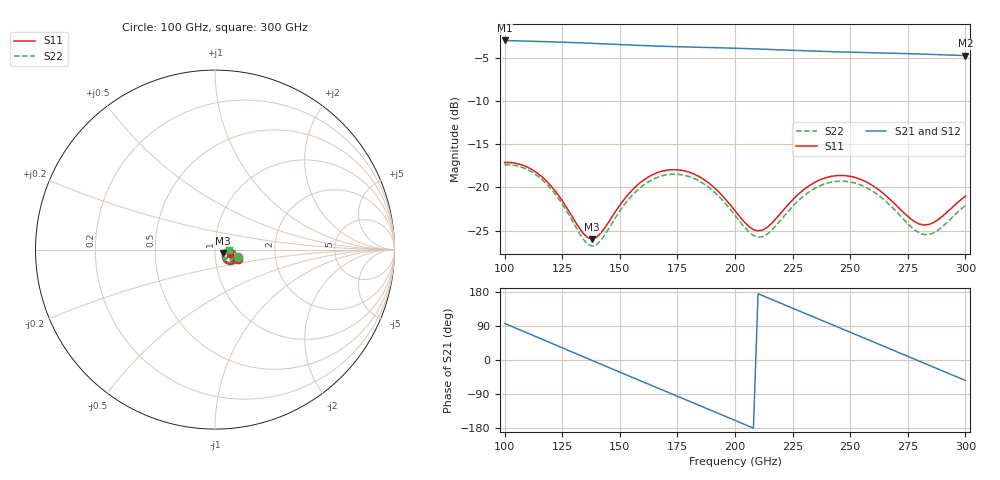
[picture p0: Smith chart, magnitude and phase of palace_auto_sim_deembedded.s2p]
! Created with skrf 1.11.0 (http://scikit-rf.org).
# GHz S DB R 50.0
!freq dBS11 angS11 dBS21 angS21 dBS12 angS12 dBS22 angS22
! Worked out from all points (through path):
!   101 points, 100 GHz to 300 GHz, reference 50 ohm
!   highest |S21| = -2.99 dB at 100 GHz (marker M1); lowest = -4.7 dB at 300 GHz (marker M2)
!   group delay of S21, straight-line fit = 7.08 ps
!   lowest |S11| = -26.0 dB at 138 GHz (marker M3), VSWR 1.11, Z = 54.8 - j2.27 ohm
!   |S11| at or under -10 dB: start of sweep to end of sweep
!   |S22| runs from -26.8 to -17.4 dB; largest |S21 - S12| = 7.7e-14
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100  -17.13 -20.9  -2.99 96.4  -2.99 96.4  -17.38 -18.0
108  -17.44 -33.7  -3.06 76.0  -3.06 76.0  -17.72 -30.6
116  -18.73 -45.0  -3.12 55.4  -3.12 55.4  -19.04 -41.8
126  -21.94 -51.8  -3.20 29.7  -3.20 29.7  -22.33 -48.8
134  -25.29 -39.5  -3.28 9.0  -3.28 9.0  -25.94 -36.6
138  -25.97 -24.3  -3.32 -1.3  -3.32 -1.3  -26.80 -20.4
152  -21.34 0.9  -3.49 -37.1  -3.49 -37.1  -22.00 8.1
160  -19.21 -5.6  -3.58 -57.5  -3.58 -57.5  -19.79 1.9
168  -18.14 -16.2  -3.66 -77.8  -3.66 -77.8  -18.68 -8.5
182  -18.43 -36.4  -3.76 -113.4  -3.76 -113.4  -18.94 -28.3
192  -20.27 -47.1  -3.83 -139.0  -3.83 -139.0  -20.78 -38.9
200  -22.70 -47.8  -3.89 -159.4  -3.89 -159.4  -23.23 -39.7
212  -24.93 -22.4  -4.00 169.8  -4.00 169.8  -25.70 -13.9
222  -22.31 -7.0  -4.10 144.3  -4.10 144.3  -23.10 3.0
234  -19.50 -13.3  -4.22 113.8  -4.22 113.8  -20.21 -2.5
242  -18.70 -22.9  -4.28 93.6  -4.28 93.6  -19.38 -11.8
250  -18.72 -33.2  -4.34 73.3  -4.34 73.3  -19.37 -22.0
258  -19.51 -42.4  -4.40 53.0  -4.40 53.0  -20.16 -31.3
268  -21.56 -48.3  -4.47 27.5  -4.47 27.5  -22.25 -37.7
276  -23.58 -43.1  -4.53 7.1  -4.53 7.1  -24.46 -32.9
284  -24.30 -27.6  -4.59 -13.2  -4.59 -13.2  -25.46 -16.4
300  -21.02 -15.2  -4.74 -53.9  -4.74 -53.9  -22.08 -0.6
